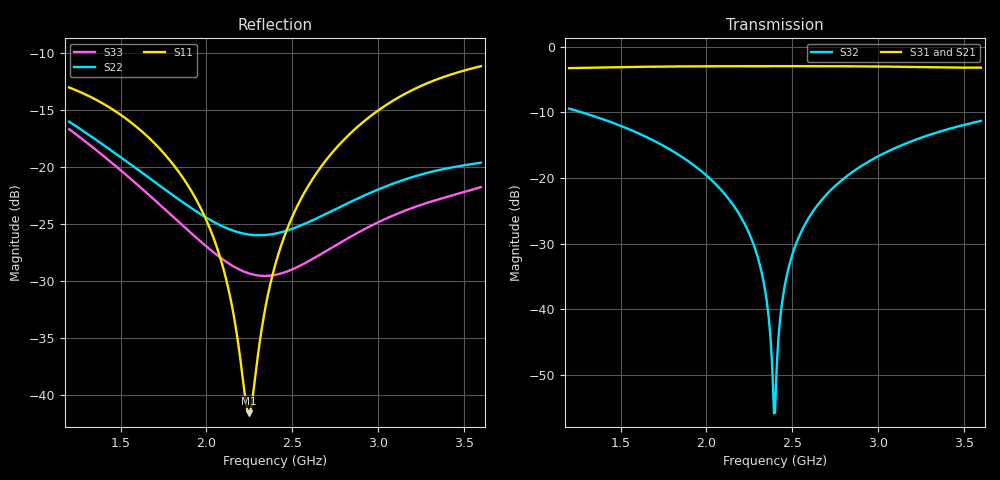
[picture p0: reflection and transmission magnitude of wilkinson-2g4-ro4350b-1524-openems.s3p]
! openEMS result for Compact Wilkinson, 1 section, f0 = 2.4 GHz on jlc-ro4350b-1.524 (arms modelled as coupled pairs)
# Hz S RI R 50
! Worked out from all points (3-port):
!   401 points, 1.2 GHz to 3.6 GHz, reference 50 ohm
!   strongest paths, dB at 1.2 GHz, 1.8 GHz, 2.4 GHz, 3 GHz, 3.6 GHz:
!     S31: -3.3, -3.0, -3.0, -3.0, -3.2
!     S21: -3.4, -3.2, -3.2, -3.3, -3.5
!     S32: -9.4, -15.9, -55.8, -16.7, -11.3
!   lowest |S11| = -41.6 dB at 2.25 GHz (marker M1), VSWR 1.02, Z = 50.1 - j0.821 ohm
!   |S11| at or under -10 dB: start of sweep to end of sweep
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1.2e9  0.0113 0.2237  -0.3284 -0.5945  -0.3358 -0.5993
       -0.3284 -0.5941  0.158 -0.012  -0.3194 -0.1087
       -0.3359 -0.5989  -0.3194 -0.1087  0.1465 -0.0096
1.932e9  0.0655 0.0345  -0.6778 0.1626  -0.6867 0.1754
         -0.6771 0.1633  -0.00718 -0.0642  -0.0439 0.1154
         -0.686 0.1761  -0.044 0.1154  -0.00239 -0.0496
2.112e9  0.0326 0.00404  -0.5912 0.3703  -0.5956 0.387
         -0.59 0.3706  -0.0314 -0.0441  -6.05e-05 0.074
         -0.5945 0.3874  -7.96e-05 0.0741  -0.0203 -0.0327
2.25e9  0.00123 -0.00819  -0.4818 0.5042  -0.4817 0.5228
        -0.4806 0.5041  -0.0439 -0.0251  0.00976 0.0363
        -0.4806 0.5228  0.00976 0.0363  -0.029 -0.0179
2.34e9  -0.0208 -0.0105  -0.3939 0.575  -0.3906 0.5944
        -0.3927 0.5747  -0.049 -0.0115  0.00544 0.0134
        -0.3895 0.594  0.00545 0.0134  -0.0324 -0.00761
2.4e9  -0.0357 -0.0094  -0.3294 0.6139  -0.3238 0.6334
       -0.3283 0.6134  -0.051 -0.00203  -0.00163 0.000157
       -0.3227 0.6329  -0.00162 0.000179  -0.0336 -0.000621
2.472e9  -0.0535 -0.00531  -0.247 0.651  -0.2385 0.6702
         -0.246 0.6502  -0.0518 0.00954  -0.0139 -0.0128
         -0.2375 0.6696  -0.0139 -0.0127  -0.0339 0.00784
2.646e9  -0.0935 0.0172  -0.0336 0.6938  -0.0182 0.711
         -0.033 0.6927  -0.0465 0.0375  -0.0558 -0.0262
         -0.0175 0.71  -0.0558 -0.0262  -0.0294 0.028
3.168e9  -0.1314 0.1663  0.5317 0.4264  0.5617 0.4225
         0.5311 0.4256  0.0352 0.0815  -0.1483 0.1092
         0.5611 0.4217  -0.1483 0.1091  0.0329 0.0558
3.6e9  -0.0304 0.2761  0.6658 -0.0554  0.6875 -0.0851
       0.6653 -0.0552  0.1044 -0.00555  -0.00892 0.2717
       0.687 -0.0848  -0.00903 0.2717  0.0783 -0.0233
